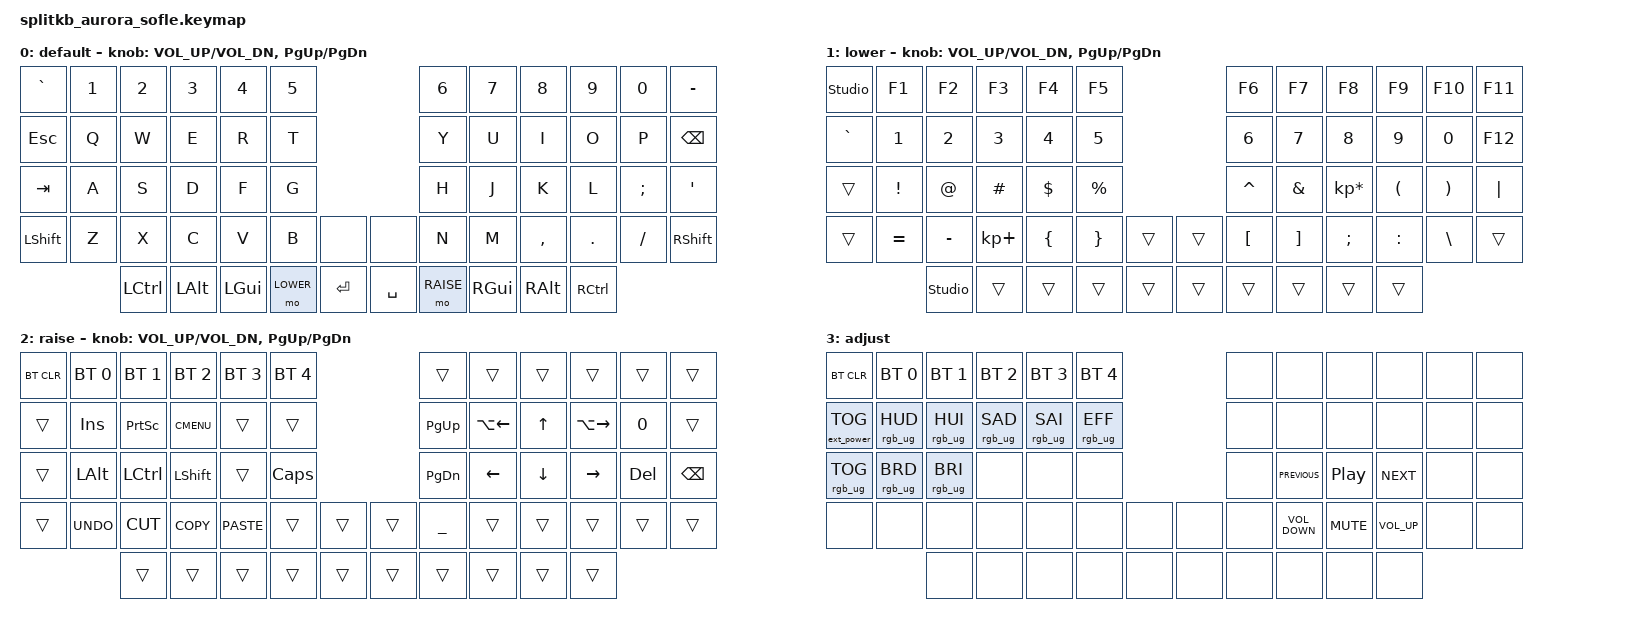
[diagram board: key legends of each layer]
/*
 * Copyright (c) 2023 The ZMK Contributors
 *
 * SPDX-License-Identifier: MIT
 */

#include <behaviors.dtsi>
#include <dt-bindings/zmk/bt.h>
#include <dt-bindings/zmk/ext_power.h>
#include <dt-bindings/zmk/keys.h>
#include <dt-bindings/zmk/rgb.h>

#define BASE 0
#define LOWER 1
#define RAISE 2
#define ADJUST 3

/* Uncomment this block if using RGB  */

&led_strip {
    // chain-length = <6>;

    // chain-length = <35>; // Uncomment if using both per-key and underglow LEDs

    chain-length = <29>; // Uncomment if using only per-key LEDs.
};

/ {
    // Activate ADJUST layer by pressing raise and lower

    conditional_layers {
        compatible = "zmk,conditional-layers";

        adjust_layer {
            if-layers = <LOWER RAISE>;
            then-layer = <ADJUST>;
        };
    };

    keymap {
        compatible = "zmk,keymap";

        default_layer {
            label = "default";

            // ------------------------------------------------------------------------------------------------------------
            // |   `   |  1  |  2  |  3   |  4   |  5   |                   |  6   |  7    |  8    |  9   |   0   |       |
            // |  ESC  |  Q  |  W  |  E   |  R   |  T   |                   |  Y   |  U    |  I    |  O   |   P   | BKSPC |
            // |  TAB  |  A  |  S  |  D   |  F   |  G   |                   |  H   |  J    |  K    |  L   |   ;   |   '   |
            // | SHIFT |  Z  |  X  |  C   |  V   |  B   |        |  |       |  N   |  M    |  ,    |  .   |   /   | SHIFT |
            //               | CTRL| ALT  | GUI  | LOWER|  ENTER |  | SPACE | RAISE| GUI   | ALT   | CTRL |

            bindings = <
&kp GRAVE  &kp N1  &kp N2    &kp N3    &kp N4     &kp N5                              &kp N6     &kp N7     &kp N8     &kp N9    &kp N0    &kp MINUS
&kp ESC    &kp Q   &kp W     &kp E     &kp R      &kp T                               &kp Y      &kp U      &kp I      &kp O     &kp P     &kp BSPC
&kp TAB    &kp A   &kp S     &kp D     &kp F      &kp G                               &kp H      &kp J      &kp K      &kp L     &kp SEMI  &kp SQT
&kp LSHFT  &kp Z   &kp X     &kp C     &kp V      &kp B      &none         &none      &kp N      &kp M      &kp COMMA  &kp DOT   &kp FSLH  &kp RSHFT
                   &kp LCTRL &kp LALT  &kp LGUI   &mo LOWER  &kp RET       &kp SPACE  &mo RAISE  &kp RGUI   &kp RALT   &kp RCTRL
            >;

            sensor-bindings = <&inc_dec_kp C_VOL_UP C_VOL_DN &inc_dec_kp PG_UP PG_DN>;
        };

        lower_layer {
            label = "lower";

            // TODO: Some binds are waiting for shifted keycode support.
            // ------------------------------------------------------------------------------------------------------------
            // |       |  F1 |  F2 |  F3  |  F4  |  F5  |                   |  F6  |  F7   |  F8   |  F9  |  F10  |  F11  |
            // |   `   |  1  |  2  |  3   |  4   |  5   |                   |  6   |  7    |  8    |  9   |   0   |  F12  |
            // |       |  !  |  @  |  #   |  $   |  %   |                   |  ^   |  &    |  *    |  (   |   )   |   |   |
            // |       |  =  |  -  |  +   |  {   |  }   |        |  |       |  [   |  ]    |  ;    |  :   |   \   |       |
            //               |     |      |      |      |        |  |       |      |       |       |      |

            bindings = <
&studio_unlock  &kp F1     &kp F2     &kp F3       &kp F4    &kp F5                       &kp F6     &kp F7    &kp F8           &kp F9     &kp F10   &kp F11
&kp GRAVE       &kp N1     &kp N2     &kp N3       &kp N4    &kp N5                       &kp N6     &kp N7    &kp N8           &kp N9     &kp N0    &kp F12
&trans          &kp EXCL   &kp AT     &kp HASH     &kp DLLR  &kp PRCNT                    &kp CARET  &kp AMPS  &kp KP_MULTIPLY  &kp LPAR   &kp RPAR  &kp PIPE
&trans          &kp EQUAL  &kp MINUS  &kp KP_PLUS  &kp LBRC  &kp RBRC   &trans    &trans  &kp LBKT   &kp RBKT  &kp SEMI         &kp COLON  &kp BSLH  &trans
                      &studio_unlock  &trans       &trans    &trans     &trans    &trans  &trans     &trans    &trans           &trans
            >;

            sensor-bindings = <&inc_dec_kp C_VOL_UP C_VOL_DN &inc_dec_kp PG_UP PG_DN>;
        };

        raise_layer {
            label = "raise";

            // ------------------------------------------------------------------------------------------------------------
            // | BTCLR | BT1  | BT2  |  BT3  |  BT4  |  BT5 |                |      |      |       |      |       |       |
            // |       | INS  | PSCR | GUI   |       |      |                | PGUP |      |   ^   |      |       |       |
            // |       | ALT  | CTRL | SHIFT |       | CAPS |                | PGDN |   <- |   v   |  ->  |  DEL  | BKSPC |
            // |       | UNDO | CUT  | COPY  | PASTE |      |      |  |      |  _   |      |       |      |       |       |
            //                |      |       |       |      |      |  |      |      |      |       |      |

            bindings = <
&bt BT_CLR  &bt BT_SEL 0  &bt BT_SEL 1  &bt BT_SEL 2  &bt BT_SEL 3  &bt BT_SEL 4                    &trans          &trans        &trans    &trans           &trans   &trans
&trans      &kp INS       &kp PSCRN     &kp K_CMENU   &trans        &trans                          &kp PG_UP       &kp LA(LEFT)  &kp UP    &kp LA(RIGHT)    &kp N0   &trans
&trans      &kp LALT      &kp LCTRL     &kp LSHFT     &trans        &kp CLCK                        &kp PG_DN       &kp LEFT      &kp DOWN  &kp RIGHT        &kp DEL  &kp BSPC
&trans      &kp K_UNDO    &kp K_CUT     &kp K_COPY    &kp K_PASTE   &trans        &trans    &trans  &kp UNDERSCORE  &trans        &trans    &trans           &trans   &trans
                          &trans        &trans        &trans        &trans        &trans    &trans  &trans          &trans        &trans    &trans
            >;

            sensor-bindings = <&inc_dec_kp C_VOL_UP C_VOL_DN &inc_dec_kp PG_UP PG_DN>;
        };

        adjust_layer {
            // ----------------------------------------------------------------------------------------------------------------------------
            // | BTCLR  |  BT1    |  BT2    |   BT3   |   BT4   |   BT5   |                  |      |      |       |      |       |       |
            // | EXTPWR | RGB_HUD | RGB_HUI | RGB_SAD | RGB_SAI | RGB_EFF |                  |      |      |       |      |       |       |
            // | RGB_TOG| RGB_BRD | RGB_BRI |         |         |         |                  |      | prev |play/p | next |       |       |
            // |        |         |         |         |         |         |         | |      |      | vol- | mute  | vol+ |       |       |
            //                    |         |         |         |         |         | |      |      |      |       |      |

            label = "adjust";
            bindings = <
&bt BT_CLR         &bt BT_SEL 0     &bt BT_SEL 1     &bt BT_SEL 2     &bt BT_SEL 3     &bt BT_SEL 4                     &none  &none              &none               &none           &none  &none
&ext_power EP_TOG  &rgb_ug RGB_HUD  &rgb_ug RGB_HUI  &rgb_ug RGB_SAD  &rgb_ug RGB_SAI  &rgb_ug RGB_EFF                  &none  &none              &none               &none           &none  &none
&rgb_ug RGB_TOG    &rgb_ug RGB_BRD  &rgb_ug RGB_BRI  &none            &none            &none                            &none  &kp C_PREVIOUS     &kp C_PLAY_PAUSE    &kp C_NEXT      &none  &none
&none              &none            &none            &none            &none            &none            &none    &none  &none  &kp C_VOLUME_DOWN  &kp C_MUTE          &kp C_VOLUME_UP &none  &none
                                    &none            &none            &none            &none            &none    &none  &none  &none              &none               &none
            >;
        };
    };
};
